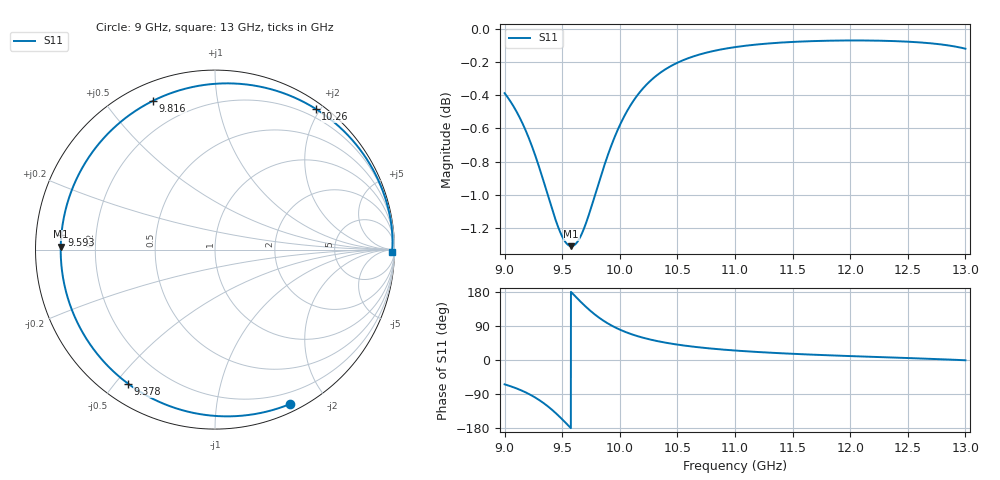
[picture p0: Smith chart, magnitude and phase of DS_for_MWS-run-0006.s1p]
! TOUCHSTONE file generated by CST DESIGN STUDIO
! Date and time: Tue Feb  4 16:05:14 2025
! Project name: C:\Work\MatlabApps\UnitCellOptimizationMatlab\CST\unitcell.cst
! Tree item: Tasks\Sweep1\SPara1\S-Parameters
! Header version: 2024
! Port assignment regex: !\s*Touchstone port\s*([0-9]+)\s*=\s*(CST MWS port|CST DES external port|CST DES block port)\s*(.+)\s* \(\"(.*)\"\)(\s*mode\s*([0-9]+))?.*
! Touchstone port assignment:
! Touchstone port 1 = CST DES external port 1 ("")
# GHz S MA R 50
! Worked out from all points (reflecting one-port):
!   4001 points, 9 GHz to 13 GHz, reference 50 ohm
!   lowest |S11| = -1.3 dB at 9.579 GHz (marker M1), VSWR 13.26, Z = 3.77 + j0.478 ohm
!   phase of S11 starts at -64 deg and turns -297 deg over the sweep
!   S11 on the Smith chart (normalised r, x): 9 GHz: 0.08, -1.59; 9.378 GHz: 0.08, -0.54; 9.593 GHz: 0.08, +0.05; 9.816 GHz: 0.08, +0.66; 10.26 GHz: 0.09, +1.94; 13 GHz: open
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9  0.9565 -64.2
9.044  0.9518 -68.5
9.112  0.9431 -76.0
9.228  0.9236 -92.5
9.307  0.9068 -107.1
9.378  0.8902 -122.9
9.438  0.8766 -138.5
9.5  0.8656 -156.5
9.54  0.8612 -168.8
9.579  0.8598 178.9
9.593  0.86 174.5
9.649  0.8643 157.0
9.711  0.8746 138.9
9.763  0.8859 125.1
9.816  0.8982 112.6
9.856  0.9074 104.1
9.899  0.9167 96.0
10  0.9354 80.2
10.121  0.9517 66.1
10.258  0.9642 54.4
10.371  0.9713 47.2
10.5  0.977 40.6
10.721  0.9833 32.3
11  0.9877 25.0
11.5  0.9913 16.4
12  0.9923 10.3
12.5  0.9914 5.2
13  0.9866 -0.7
